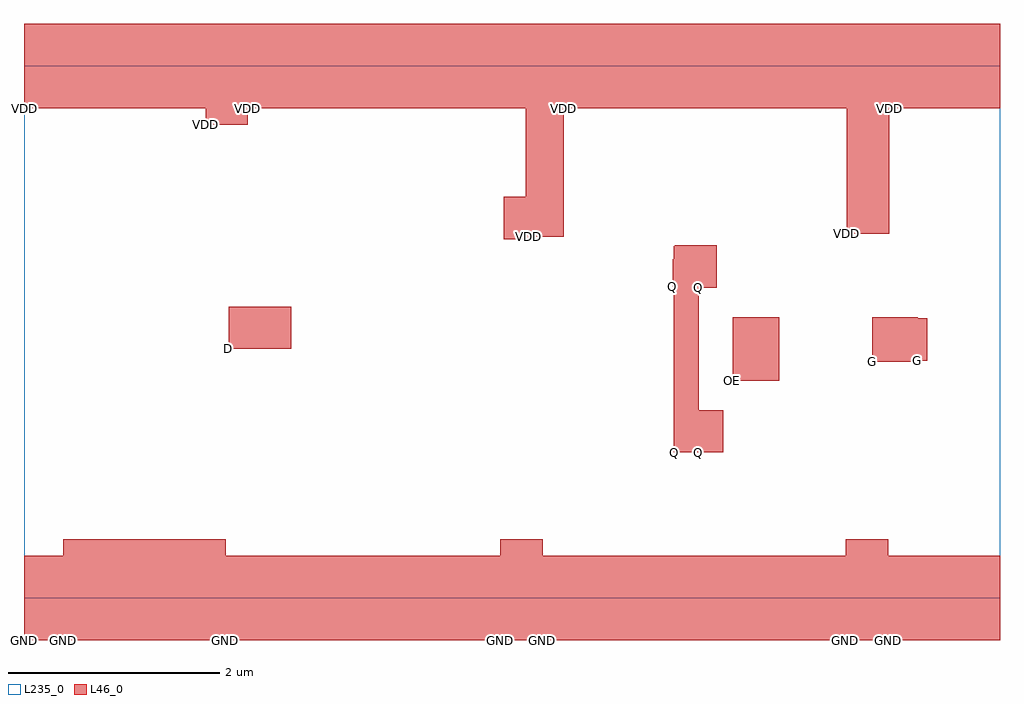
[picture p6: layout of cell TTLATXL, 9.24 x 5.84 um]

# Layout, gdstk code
import gdstk
lib = gdstk.Library(unit=1e-6, precision=1e-09)
def R(c, l, rs):  # rectangles x0, y0, x1, y1
    for r in rs: c.add(gdstk.rectangle(r[:2], r[2:], *l))
L46_0 = (46, 0)
L235_0 = (235, 0)

ttlatxl = lib.new_cell('TTLATXL')
R(ttlatxl, L46_0, [(0,-0.4,0.37,0.4), (0.37,-0.4,1.91,0.56), (1.91,-0.4,4.51,0.4), (4.51,-0.4,4.91,0.56), (4.91,-0.4,7.78,0.4), (7.78,-0.4,8.18,0.56), (8.18,-0.4,9.24,0.4), (6.15,1.38,6.16,3.33), (6.16,1.38,6.39,3.34), (6.39,1.38,6.62,1.78), (6.71,2.06,7.15,2.66), (8.03,2.24,8.46,2.66), (8.46,2.25,8.55,2.65), (1.94,2.36,2.53,2.76), (6.39,2.94,6.56,3.34), (6.14,2.95,6.15,3.21), (4.54,3.4,4.75,3.8), (4.75,3.4,4.78,5.44), (4.78,3.42,5.11,5.44), (7.79,3.45,8.19,5.44), (1.72,4.48,2.12,5.44), (0,4.64,1.72,5.44), (2.12,4.64,4.75,5.44), (5.11,4.64,7.79,5.44), (8.19,4.64,9.24,5.44)])
R(ttlatxl, L235_0, [(0,0,9.24,5.04)])
ttlatxl.add(gdstk.Label('Q', (6.39,1.38), layer=101, texttype=0))
ttlatxl.add(gdstk.Label('Q', (6.39,2.94), layer=101, texttype=0))
ttlatxl.add(gdstk.Label('Q', (6.16,1.38), layer=101, texttype=0))
ttlatxl.add(gdstk.Label('Q', (6.15,1.38), layer=101, texttype=0))
ttlatxl.add(gdstk.Label('Q', (6.14,2.95), layer=101, texttype=0))
ttlatxl.add(gdstk.Label('OE', (6.71,2.06), layer=101, texttype=0))
ttlatxl.add(gdstk.Label('G', (8.46,2.25), layer=101, texttype=0))
ttlatxl.add(gdstk.Label('G', (8.03,2.24), layer=101, texttype=0))
ttlatxl.add(gdstk.Label('D', (1.94,2.36), layer=101, texttype=0))
ttlatxl.add(gdstk.Label('VDD', (8.19,4.64), layer=101, texttype=0))
ttlatxl.add(gdstk.Label('VDD', (7.79,3.45), layer=101, texttype=0))
ttlatxl.add(gdstk.Label('VDD', (5.11,4.64), layer=101, texttype=0))
ttlatxl.add(gdstk.Label('VDD', (4.78,3.42), layer=101, texttype=0))
ttlatxl.add(gdstk.Label('VDD', (4.75,3.4), layer=101, texttype=0))
ttlatxl.add(gdstk.Label('VDD', (4.54,3.4), layer=101, texttype=0))
ttlatxl.add(gdstk.Label('VDD', (2.12,4.64), layer=101, texttype=0))
ttlatxl.add(gdstk.Label('VDD', (1.72,4.48), layer=101, texttype=0))
ttlatxl.add(gdstk.Label('VDD', (0,4.64), layer=101, texttype=0))
ttlatxl.add(gdstk.Label('GND', (8.18,-0.4), layer=101, texttype=0))
ttlatxl.add(gdstk.Label('GND', (7.78,-0.4), layer=101, texttype=0))
ttlatxl.add(gdstk.Label('GND', (4.91,-0.4), layer=101, texttype=0))
ttlatxl.add(gdstk.Label('GND', (4.51,-0.4), layer=101, texttype=0))
ttlatxl.add(gdstk.Label('GND', (1.91,-0.4), layer=101, texttype=0))
ttlatxl.add(gdstk.Label('GND', (0.37,-0.4), layer=101, texttype=0))
ttlatxl.add(gdstk.Label('GND', (0,-0.4), layer=101, texttype=0))

lib.write_gds('TTLATXL.gds')
